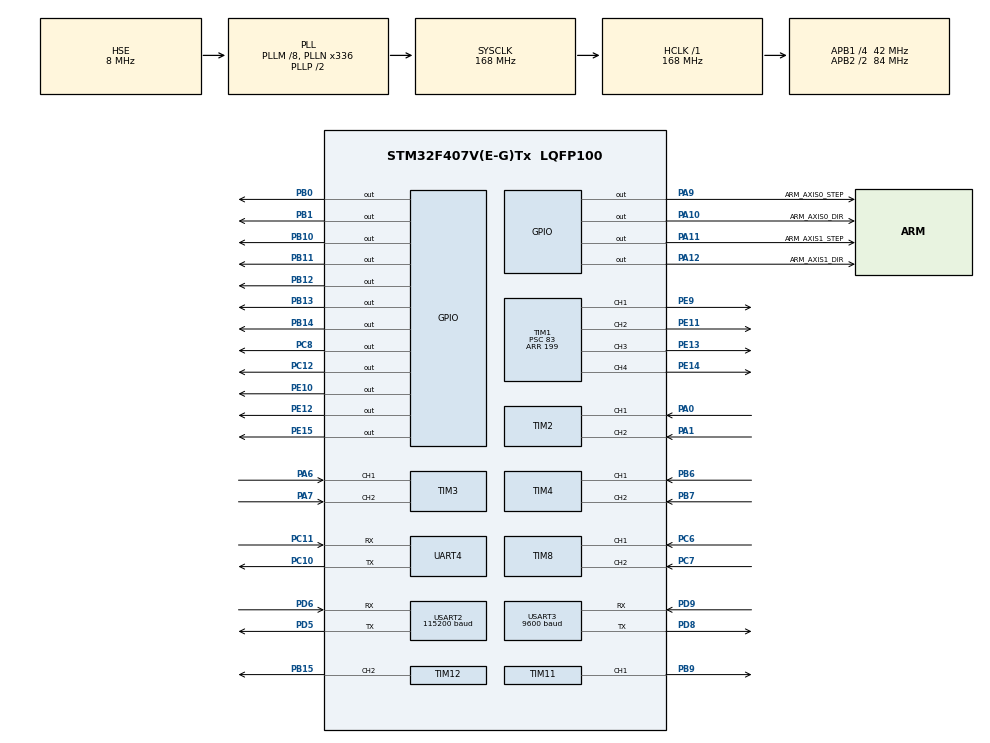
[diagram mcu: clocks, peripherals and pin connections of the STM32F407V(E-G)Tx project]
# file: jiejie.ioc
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FREERTOS.Queues01=oframe_q,8,4,1,Dynamic,NULL,NULL
FREERTOS.Tasks01=defaultTask,24,1024,StartDefaultTask,Default,NULL,Dynamic,NULL,NULL;ControlTask,40,256,StartTask02,Default,NULL,Dynamic,NULL,NULL;MissionTask,32,512,StartTask03,Default,NULL,Dynamic,NULL,NULL;ImuTask,24,128,StartTask04,Default,NULL,Dynamic,NULL,NULL;LogTask,8,128,StartTask05,Default,NULL,Dynamic,NULL,NULL
FREERTOS.configTOTAL_HEAP_SIZE=32768
Mcu.Family=STM32F4
Mcu.Name=STM32F407V(E-G)Tx
Mcu.Package=LQFP100
NVIC.PriorityGroup=NVIC_PRIORITYGROUP_4
NVIC.TIM6_DAC_IRQn=true\:15\:0\:false\:false\:true\:false\:false\:true\:true
NVIC.TimeBase=TIM6_DAC_IRQn
NVIC.TimeBaseIP=TIM6
NVIC.UART4_IRQn=true\:5\:0\:false\:false\:true\:true\:true\:true\:true
NVIC.USART2_IRQn=true\:5\:0\:false\:false\:true\:true\:true\:true\:true
NVIC.USART3_IRQn=true\:5\:0\:false\:false\:true\:true\:true\:true\:true
PA0-WKUP.GPIO_PuPd=GPIO_PULLUP
PA0-WKUP.Signal=S_TIM2_CH1_ETR
PA1.GPIO_PuPd=GPIO_PULLUP
PA1.Signal=S_TIM2_CH2
PA10.GPIO_Label=ARM_AXIS0_DIR
PA10.GPIO_ModeDefaultOutputPP=GPIO_MODE_OUTPUT_OD
PA10.GPIO_PuPd=GPIO_NOPULL
PA10.PinState=GPIO_PIN_SET
PA10.Signal=GPIO_Output
PA11.GPIO_Label=ARM_AXIS1_STEP
PA11.GPIO_ModeDefaultOutputPP=GPIO_MODE_OUTPUT_OD
PA11.GPIO_PuPd=GPIO_NOPULL
PA11.PinState=GPIO_PIN_SET
PA11.Signal=GPIO_Output
PA12.GPIO_Label=ARM_AXIS1_DIR
PA12.GPIO_ModeDefaultOutputPP=GPIO_MODE_OUTPUT_OD
PA12.GPIO_PuPd=GPIO_NOPULL
PA12.PinState=GPIO_PIN_SET
PA12.Signal=GPIO_Output
PA13.Mode=Serial_Wire
PA13.Signal=SYS_JTMS-SWDIO
PA14.Mode=Serial_Wire
PA14.Signal=SYS_JTCK-SWCLK
PA6.GPIO_PuPd=GPIO_PULLUP
PA6.Signal=S_TIM3_CH1
PA7.GPIO_PuPd=GPIO_PULLUP
PA7.Signal=S_TIM3_CH2
PA9.GPIO_Label=ARM_AXIS0_STEP
PA9.GPIO_ModeDefaultOutputPP=GPIO_MODE_OUTPUT_OD
PA9.GPIO_PuPd=GPIO_NOPULL
PA9.PinState=GPIO_PIN_SET
PA9.Signal=GPIO_Output
PB0.GPIO_ModeDefaultOutputPP=GPIO_MODE_OUTPUT_PP
PB0.GPIO_PuPd=GPIO_PULLDOWN
PB0.PinState=GPIO_PIN_RESET
PB0.Signal=GPIO_Output
PB1.GPIO_ModeDefaultOutputPP=GPIO_MODE_OUTPUT_PP
PB1.GPIO_PuPd=GPIO_PULLDOWN
PB1.PinState=GPIO_PIN_RESET
PB1.Signal=GPIO_Output
PB10.GPIO_ModeDefaultOutputPP=GPIO_MODE_OUTPUT_PP
PB10.PinState=GPIO_PIN_RESET
PB10.Signal=GPIO_Output
PB11.GPIO_ModeDefaultOutputPP=GPIO_MODE_OUTPUT_PP
PB11.PinState=GPIO_PIN_RESET
PB11.Signal=GPIO_Output
PB12.GPIO_ModeDefaultOutputPP=GPIO_MODE_OUTPUT_PP
PB12.PinState=GPIO_PIN_RESET
PB12.Signal=GPIO_Output
PB13.GPIO_ModeDefaultOutputPP=GPIO_MODE_OUTPUT_PP
PB13.PinState=GPIO_PIN_RESET
PB13.Signal=GPIO_Output
PB14.GPIO_ModeDefaultOutputPP=GPIO_MODE_OUTPUT_PP
PB14.PinState=GPIO_PIN_RESET
PB14.Signal=GPIO_Output
PB15.Signal=S_TIM12_CH2
PB6.GPIO_PuPd=GPIO_PULLUP
PB6.Signal=S_TIM4_CH1
PB7.GPIO_PuPd=GPIO_PULLUP
PB7.Signal=S_TIM4_CH2
PB9.GPIO_PuPd=GPIO_PULLDOWN
PB9.Signal=S_TIM11_CH1
PC10.Mode=Asynchronous
PC10.Signal=UART4_TX
PC11.Mode=Asynchronous
PC11.Signal=UART4_RX
PC6.GPIO_PuPd=GPIO_PULLUP
PC6.Signal=S_TIM8_CH1
PC7.GPIO_PuPd=GPIO_PULLUP
PC7.Signal=S_TIM8_CH2
PC8.GPIO_ModeDefaultOutputPP=GPIO_MODE_OUTPUT_PP
PC8.PinState=GPIO_PIN_RESET
PC8.Signal=GPIO_Output
PC12.GPIO_ModeDefaultOutputPP=GPIO_MODE_OUTPUT_PP
PC12.GPIO_PuPd=GPIO_PULLDOWN
PC12.PinState=GPIO_PIN_RESET
PC12.Signal=GPIO_Output
PD5.Mode=Asynchronous
PD5.Signal=USART2_TX
PD6.Mode=Asynchronous
PD6.Signal=USART2_RX
PD8.Mode=Asynchronous
PD8.Signal=USART3_TX
PD9.Mode=Asynchronous
PD9.Signal=USART3_RX
PE10.GPIO_ModeDefaultOutputPP=GPIO_MODE_OUTPUT_PP
PE10.PinState=GPIO_PIN_RESET
PE10.Signal=GPIO_Output
PE11.Signal=S_TIM1_CH2
PE12.GPIO_ModeDefaultOutputPP=GPIO_MODE_OUTPUT_PP
PE12.PinState=GPIO_PIN_RESET
PE12.Signal=GPIO_Output
PE13.Signal=S_TIM1_CH3
PE14.Signal=S_TIM1_CH4
PE15.GPIO_ModeDefaultOutputPP=GPIO_MODE_OUTPUT_PP
PE15.PinState=GPIO_PIN_RESET
PE15.Signal=GPIO_Output
PE9.Signal=S_TIM1_CH1
PH0-OSC_IN.Mode=HSE-External-Oscillator
PH0-OSC_IN.Signal=RCC_OSC_IN
PH1-OSC_OUT.Mode=HSE-External-Oscillator
PH1-OSC_OUT.Signal=RCC_OSC_OUT
ProjectManager.HeapSize=0x200
ProjectManager.StackSize=0x400
ProjectManager.TargetToolchain=MDK-ARM V5
RCC.48MHZClocksFreq_Value=84000000
RCC.AHBFreq_Value=168000000
RCC.APB1CLKDivider=RCC_HCLK_DIV4
RCC.APB1Freq_Value=42000000
RCC.APB1TimFreq_Value=84000000
RCC.APB2CLKDivider=RCC_HCLK_DIV2
RCC.APB2Freq_Value=84000000
RCC.APB2TimFreq_Value=168000000
RCC.CortexFreq_Value=168000000
RCC.HCLKFreq_Value=168000000
RCC.HSE_VALUE=8000000
RCC.HSI_VALUE=16000000
RCC.LSE_VALUE=32768
RCC.PLLM=8
RCC.PLLN=336
RCC.PLLSourceVirtual=RCC_PLLSOURCE_HSE
RCC.SYSCLKFreq_VALUE=168000000
RCC.SYSCLKSource=RCC_SYSCLKSOURCE_PLLCLK
RCC.VCOOutputFreq_Value=336000000
SH.S_TIM11_CH1.0=TIM11_CH1,PWM Generation1 CH1
SH.S_TIM12_CH2.0=TIM12_CH2,PWM Generation2 CH2
SH.S_TIM1_CH1.0=TIM1_CH1,PWM Generation1 CH1
SH.S_TIM1_CH2.0=TIM1_CH2,PWM Generation2 CH2
SH.S_TIM1_CH3.0=TIM1_CH3,PWM Generation3 CH3
SH.S_TIM1_CH4.0=TIM1_CH4,PWM Generation4 CH4
SH.S_TIM2_CH1_ETR.0=TIM2_CH1,Encoder_Interface
SH.S_TIM2_CH2.0=TIM2_CH2,Encoder_Interface
SH.S_TIM3_CH1.0=TIM3_CH1,Encoder_Interface
SH.S_TIM3_CH2.0=TIM3_CH2,Encoder_Interface
SH.S_TIM4_CH1.0=TIM4_CH1,Encoder_Interface
SH.S_TIM4_CH2.0=TIM4_CH2,Encoder_Interface
SH.S_TIM8_CH1.0=TIM8_CH1,Encoder_Interface
SH.S_TIM8_CH2.0=TIM8_CH2,Encoder_Interface
TIM1.Channel-PWM\ Generation1\ CH1=TIM_CHANNEL_1
TIM1.Channel-PWM\ Generation2\ CH2=TIM_CHANNEL_2
TIM1.Channel-PWM\ Generation3\ CH3=TIM_CHANNEL_3
TIM1.Channel-PWM\ Generation4\ CH4=TIM_CHANNEL_4
TIM1.Period=199
TIM1.Prescaler=83
TIM11.Channel-PWM\ Generation1\ CH1=TIM_CHANNEL_1
TIM11.Period=199
TIM11.Prescaler=83
TIM12.Channel-PWM\ Generation2\ CH2=TIM_CHANNEL_2
TIM12.Period=9999
TIM12.Prescaler=167
TIM2.EncoderMode=TIM_ENCODERMODE_TI12
TIM3.EncoderMode=TIM_ENCODERMODE_TI12
TIM4.EncoderMode=TIM_ENCODERMODE_TI12
TIM8.EncoderMode=TIM_ENCODERMODE_TI12
UART4.VirtualMode=Asynchronous
USART2.BaudRate=115200
USART2.VirtualMode=VM_ASYNC
USART3.BaudRate=9600
USART3.VirtualMode=VM_ASYNC
VP_FREERTOS_VS_CMSIS_V2.Mode=CMSIS_V2
VP_SYS_VS_tim6.Mode=TIM6
board=custom

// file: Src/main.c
/* USER CODE BEGIN Header */
/**
  ******************************************************************************
  * @file           : main.c
  * @brief          : Main program body
  ******************************************************************************
  * @attention
  *
  * Copyright (c) 2026 STMicroelectronics.
  * All rights reserved.
  *
  * This software is licensed under terms that can be found in the LICENSE file
  * in the root directory of this software component.
  * If no LICENSE file comes with this software, it is provided AS-IS.
  *
  ******************************************************************************
  */
/* USER CODE END Header */
#include "main.h"
#include "cmsis_os.h"
#include "tim.h"
#include "usart.h"
#include "gpio.h"

/* USER CODE BEGIN Includes */
#include "robot.h"
#include "board_pins.h"
#include "arm.h"
#include "proto.h" /* Opt-in boot-session RNG clock contract. */
/* USER CODE END Includes */

void SystemClock_Config(void);
void MX_FREERTOS_Init(void);

int main(void)
{

  /* MCU Configuration--------------------------------------------------------*/

  /* Reset of all peripherals, Initializes the Flash interface and the Systick. */
  HAL_Init();

  /* Configure the system clock */
  SystemClock_Config();

  /* Initialize all configured peripherals */
  MX_GPIO_Init();
  MX_TIM1_Init();
  MX_TIM2_Init();
  MX_TIM3_Init();
  MX_TIM4_Init();
  MX_TIM8_Init();
  MX_TIM12_Init();
  MX_TIM11_Init();
  MX_UART4_Init();
  MX_USART2_UART_Init();
  MX_USART3_UART_Init();
  /* USER CODE BEGIN 2 */
  robot_init();   /* 底层外设 + 串口 RX 全在 App 里，这里只调一次 */
  /* USER CODE END 2 */

  /* Init scheduler */
  osKernelInitialize();

  /* Call init function for freertos objects (in cmsis_os2.c) */
  MX_FREERTOS_Init();

  /* Start scheduler */
  osKernelStart();

  /* We should never get here as control is now taken by the scheduler */

  /* Infinite loop */
  while (1)
  {

  }
}

void SystemClock_Config(void)
{
  RCC_OscInitTypeDef RCC_OscInitStruct = {0};
  RCC_ClkInitTypeDef RCC_ClkInitStruct = {0};

  /** Configure the main internal regulator output voltage
  */
  __HAL_RCC_PWR_CLK_ENABLE();
  __HAL_PWR_VOLTAGESCALING_CONFIG(PWR_REGULATOR_VOLTAGE_SCALE1);

  /** Initializes the RCC Oscillators according to the specified parameters
  * in the RCC_OscInitTypeDef structure.
  */
  RCC_OscInitStruct.OscillatorType = RCC_OSCILLATORTYPE_HSE;
  RCC_OscInitStruct.HSEState = RCC_HSE_ON;
  RCC_OscInitStruct.PLL.PLLState = RCC_PLL_ON;
  RCC_OscInitStruct.PLL.PLLSource = RCC_PLLSOURCE_HSE;
  RCC_OscInitStruct.PLL.PLLM = 8;
  RCC_OscInitStruct.PLL.PLLN = 336;
  RCC_OscInitStruct.PLL.PLLP = RCC_PLLP_DIV2;
  RCC_OscInitStruct.PLL.PLLQ = 4;
#if PROTO_BOOT_SESSION_ENABLE
  /* PLL48CLK=48MHz for RNG; SYSCLK/APB/motor timers remain unchanged.
   * Keep this override after Cube regeneration. Nonce code fails closed
   * if the live clock tree does not match. Default legacy build uses Q4. */
  RCC_OscInitStruct.PLL.PLLQ = 7;
#endif
  if (HAL_RCC_OscConfig(&RCC_OscInitStruct) != HAL_OK)
  {
    Error_Handler();
  }

  /** Initializes the CPU, AHB and APB buses clocks
  */
  RCC_ClkInitStruct.ClockType = RCC_CLOCKTYPE_HCLK|RCC_CLOCKTYPE_SYSCLK
                              |RCC_CLOCKTYPE_PCLK1|RCC_CLOCKTYPE_PCLK2;
  RCC_ClkInitStruct.SYSCLKSource = RCC_SYSCLKSOURCE_PLLCLK;
  RCC_ClkInitStruct.AHBCLKDivider = RCC_SYSCLK_DIV1;
  RCC_ClkInitStruct.APB1CLKDivider = RCC_HCLK_DIV4;
  RCC_ClkInitStruct.APB2CLKDivider = RCC_HCLK_DIV2;

  if (HAL_RCC_ClockConfig(&RCC_ClkInitStruct, FLASH_LATENCY_5) != HAL_OK)
  {
    Error_Handler();
  }
}

void HAL_TIM_PeriodElapsedCallback(TIM_HandleTypeDef *htim)
{
  if (htim->Instance == TIM6)
  {
    HAL_IncTick();
  }
}

void Error_Handler(void)
{
  /* USER CODE BEGIN Error_Handler_Debug */
  /* 无论错误发生在初始化还是运行期，关闭底盘、激光与步进时钟。 */
  __disable_irq();
  arm_stepper_clock_stop();
  ARM_AXIS0_STEP_GPIO_Port->BSRR = ARM_AXIS0_STEP_Pin;
  ARM_AXIS1_STEP_GPIO_Port->BSRR = ARM_AXIS1_STEP_Pin;
  GPIOC->BSRR = (uint32_t)GPIO_PIN_8 << 16u;
  bp_laser_emergency_off();
  while (1)
  {
  }
  /* USER CODE END Error_Handler_Debug */
}

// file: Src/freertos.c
/* USER CODE BEGIN Header */
/**
  ******************************************************************************
  * File Name          : freertos.c
  * Description        : Code for freertos applications
  ******************************************************************************
  * @attention
  *
  * Copyright (c) 2026 STMicroelectronics.
  * All rights reserved.
  *
  * This software is licensed under terms that can be found in the LICENSE file
  * in the root directory of this software component.
  * If no LICENSE file comes with this software, it is provided AS-IS.
  *
  ******************************************************************************
  */
/* USER CODE END Header */

#include "FreeRTOS.h"
#include "task.h"
#include "main.h"
#include "cmsis_os.h"

/* USER CODE BEGIN Includes */
#include "robot.h"
#include "board_pins.h"
#include "arm.h"
/* USER CODE END Includes */

/* Definitions for defaultTask */
osThreadId_t defaultTaskHandle;
const osThreadAttr_t defaultTask_attributes = {
  .name = "defaultTask",
  /* Route43 UTF-8/float diagnostics: known call depth already exceeds2KB.
   * Keep headroom for indirect printf/RTOS frames; match CubeMX below. */
  .stack_size = 1024 * 4,
  .priority = (osPriority_t) osPriorityNormal,
};
/* Definitions for ControlTask */
osThreadId_t ControlTaskHandle;
const osThreadAttr_t ControlTask_attributes = {
  .name = "ControlTask",
  .stack_size = 256 * 4,
  .priority = (osPriority_t) osPriorityHigh,
};
/* Definitions for MissionTask */
osThreadId_t MissionTaskHandle;
const osThreadAttr_t MissionTask_attributes = {
  .name = "MissionTask",
  /* Coupled XY alignment plus float diagnostics exceeds the former 1 KB
   * stack (Keil's printf indirect paths are not included in Max Depth). */
  .stack_size = 512 * 4,
  .priority = (osPriority_t) osPriorityAboveNormal,
};
/* Definitions for ImuTask */
osThreadId_t ImuTaskHandle;
const osThreadAttr_t ImuTask_attributes = {
  .name = "ImuTask",
  .stack_size = 256 * 4,
  .priority = (osPriority_t) osPriorityNormal,
};
/* Definitions for LogTask */
osThreadId_t LogTaskHandle;
const osThreadAttr_t LogTask_attributes = {
  .name = "LogTask",
  .stack_size = 256 * 4,
  .priority = (osPriority_t) osPriorityLow,
};

void StartDefaultTask(void *argument);
void StartTask02(void *argument);
void StartTask03(void *argument);
void StartTask04(void *argument);
void StartTask05(void *argument);

void MX_FREERTOS_Init(void); /* (MISRA C 2004 rule 8.1) */

void MX_FREERTOS_Init(void) {

  /* Create the thread(s) */
  /* creation of defaultTask */
  defaultTaskHandle = osThreadNew(StartDefaultTask, NULL, &defaultTask_attributes);

  /* creation of ControlTask */
  ControlTaskHandle = osThreadNew(StartTask02, NULL, &ControlTask_attributes);

  /* creation of MissionTask */
  MissionTaskHandle = osThreadNew(StartTask03, NULL, &MissionTask_attributes);

  /* creation of ImuTask */
  ImuTaskHandle = osThreadNew(StartTask04, NULL, &ImuTask_attributes);

  /* creation of LogTask */
  LogTaskHandle = osThreadNew(StartTask05, NULL, &LogTask_attributes);

}

void StartDefaultTask(void *argument)
{
  /* USER CODE BEGIN StartDefaultTask */
  /* Infinite loop */
  for(;;)
  {
    osDelay(20);
    robot_bt_service();           /* 蓝牙遥控/BT 命令解析(test.c):20ms 轮询够跟手 */
  }
  /* USER CODE END StartDefaultTask */
}

void StartTask02(void *argument)
{
  /* USER CODE BEGIN StartTask02 */
  /* ControlTask(High)：1ms 精确速度环，用 osDelayUntil 防漂 */
  uint32_t wake = osKernelGetTickCount();
  for(;;)
  {
    osDelayUntil(wake + 1u);
    wake += 1u;
    robot_control_tick_1ms();
  }
  /* USER CODE END StartTask02 */
}

void StartTask03(void *argument)
{
  /* USER CODE BEGIN StartTask03 */
  /* MissionTask(AboveNormal)：阻塞式整场脚本。先等 BT 'g' 启动,再顺序跑
     读QR/越障/EOD/ANTI/RESCUE,到 DONE/ABORT 后驻留。脚本内 osDelay 让出
     CPU,ControlTask(High) 照常 1ms 抢占。 */
  for(;;)
  {
    robot_mission_main();
  }
  /* USER CODE END StartTask03 */
}

void StartTask04(void *argument)
{
  /* USER CODE BEGIN StartTask04 */
  /* ImuTask(Normal)：周期做健康检查/协议解析(当前协议未定，几乎空转) */
  for(;;)
  {
    osDelay(5);
    robot_imu_tick();
  }
  /* USER CODE END StartTask04 */
}

void StartTask05(void *argument)
{
  /* USER CODE BEGIN StartTask05 */
  /* LogTask(Low)：100ms 往调试口(蓝牙)打一帧状态摘要 */
  for(;;)
  {
    osDelay(100);
    robot_log_tick();
  }
  /* USER CODE END StartTask05 */
}

/* USER CODE BEGIN Application */

static void rtos_emergency_stop(void)
{
  taskDISABLE_INTERRUPTS();
  arm_stepper_clock_stop();
  ARM_AXIS0_STEP_GPIO_Port->BSRR = ARM_AXIS0_STEP_Pin;
  ARM_AXIS1_STEP_GPIO_Port->BSRR = ARM_AXIS1_STEP_Pin;
  GPIOC->BSRR = (uint32_t)GPIO_PIN_8 << 16u;
  bp_laser_emergency_off();
  for (;;) { }
}

/* 栈溢出/动态内存申请失败都属于不可继续的控制故障。 */
void vApplicationStackOverflowHook(TaskHandle_t xTask, char *pcTaskName)
{
  (void)xTask;
  (void)pcTaskName;
  rtos_emergency_stop();
}

void vApplicationMallocFailedHook(void)
{
  rtos_emergency_stop();
}

/* 蓝牙 diag 使用。HighWaterMark 单位是 StackType_t word，不是字节。 */
void robot_get_stack_watermarks(uint32_t out[5])
{
  if (!out) return;
  out[0] = (uint32_t)uxTaskGetStackHighWaterMark((TaskHandle_t)defaultTaskHandle);
  out[1] = (uint32_t)uxTaskGetStackHighWaterMark((TaskHandle_t)ControlTaskHandle);
  out[2] = (uint32_t)uxTaskGetStackHighWaterMark((TaskHandle_t)MissionTaskHandle);
  out[3] = (uint32_t)uxTaskGetStackHighWaterMark((TaskHandle_t)ImuTaskHandle);
  out[4] = (uint32_t)uxTaskGetStackHighWaterMark((TaskHandle_t)LogTaskHandle);
}

/* USER CODE END Application */
